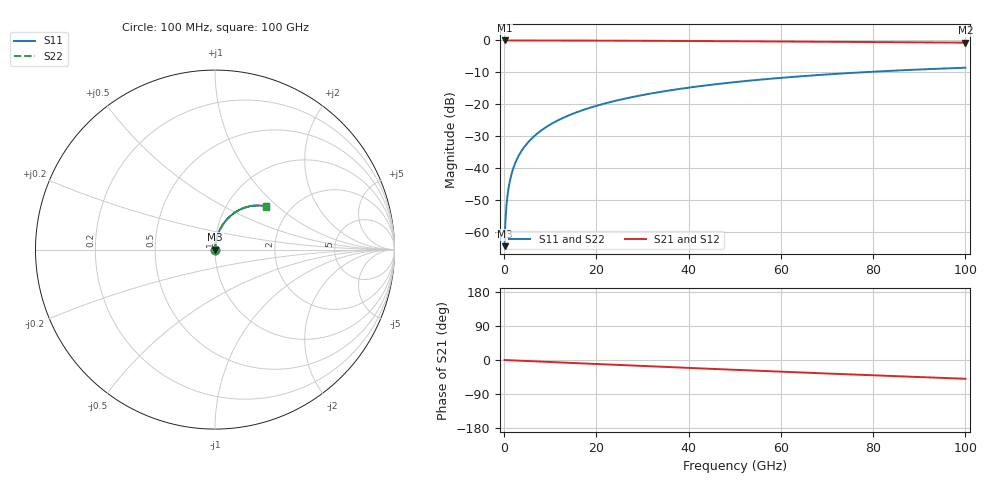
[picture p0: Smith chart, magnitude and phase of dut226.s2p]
! Touchstone file exported from HFSS 2026.1.0
!  File:  C:/ffzhzh/LocalFiles/Ansys_Project_Files/temp_train_TSV_226_1783507917_55944.aedt
!  Generated:  06:53:20 PM Jul  8, 2026
!  Design:  TSV
!  Project:  temp_train_TSV_226_1783507917_55944
! Variables:
!  h_bsmrdl = 2um
!  h_ox = 20um
!  h_rdl = 5um
!  h_sub = 85.87um
!  h_tmrdl = 5um
!  h_tsv = 85.87um
!  h_via = 3um
!  l_bsmrdl = 300um
!  l_sub = 412.52um
!  l_tmrdl = 200um
!  m_sub = 200um
!  pitch = 58.3um
!  r_tsv = 6.26um
!  s_tmrdl = 10um
!  w_bsmrdl = 18um
!  w_sub = 500um
!  w_tmrdl = 12um
!  x_tsv_center1 = 206um
!  x_tsv_center2 = 524um
!  x_tsv_center3 = 736um
!  x_tsv_center4 = 1054um
!  x_tsv_center5 = 1266um
!  x_tsv_center6 = 1584um
# GHz S MA R 50.000000
! Terminal data exported
! Port[1] = TSV1_1_T1
! Port[2] = TSV1_1_T2
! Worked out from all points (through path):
!   1000 points, 100 MHz to 100 GHz, reference 50 ohm
!   highest |S21| = 0.00 dB at 100 MHz (marker M1); lowest = -0.7 dB at 100 GHz (marker M2)
!   group delay of S21, straight-line fit = 1.38 ps
!   lowest |S11| = -64.6 dB at 100 MHz (marker M3), VSWR 1.00, Z = 50 + j0.0519 ohm
!   |S11| at or under -10 dB: start of sweep to 77.58 GHz
!   |S22| runs from -64.6 to -8.6 dB; largest |S21 - S12| = 2.7e-15
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0.1  0.000591 61.4  0.9997 -0.1  0.9997 -0.1  0.000591 61.4
! Gamma 0 0 0 0
! Port Impedance 50 0 50 0
0.3  0.001568 78.5  0.9997 -0.2  0.9997 -0.2  0.001568 78.5
0.7  0.003556 83.8  0.9996 -0.4  0.9996 -0.4  0.003556 83.8
0.8  0.004052 84.3  0.9996 -0.4  0.9996 -0.4  0.004052 84.3
1  0.005045 84.9  0.9996 -0.5  0.9996 -0.5  0.005045 84.9
1.3  0.006527 85.4  0.9995 -0.7  0.9995 -0.7  0.006527 85.4
1.7  0.008491 85.7  0.9995 -0.9  0.9995 -0.9  0.008491 85.7
2.3  0.01141 85.7  0.9993 -1.2  0.9993 -1.2  0.01141 85.7
3  0.01478 85.6  0.9992 -1.6  0.9992 -1.6  0.01478 85.6
3.8  0.0186 85.5  0.999 -2.0  0.999 -2.0  0.0186 85.5
4.8  0.02336 85.2  0.9988 -2.6  0.9988 -2.6  0.02336 85.2
6  0.02905 84.8  0.9986 -3.2  0.9986 -3.2  0.02905 84.8
8.8  0.04228 83.6  0.9979 -4.7  0.9979 -4.7  0.04228 83.6
12.4  0.05916 82.0  0.9968 -6.6  0.9968 -6.6  0.05916 82.0
16.8  0.07957 79.9  0.9951 -8.9  0.9951 -8.9  0.07957 79.9
24.2  0.1133 76.2  0.9915 -12.8  0.9915 -12.8  0.1133 76.2
33.4  0.1538 71.6  0.9857 -17.5  0.9857 -17.5  0.1538 71.6
41.2  0.1867 67.7  0.9798 -21.5  0.9798 -21.5  0.1867 67.7
50.1  0.2222 63.3  0.9722 -25.9  0.9722 -25.9  0.2222 63.3
66.7  0.282 55.3  0.9563 -34.1  0.9563 -34.1  0.282 55.3
83.4  0.3328 47.5  0.9396 -41.9  0.9396 -41.9  0.3328 47.5
100  0.3733 40.1  0.924 -49.5  0.924 -49.5  0.3733 40.0
